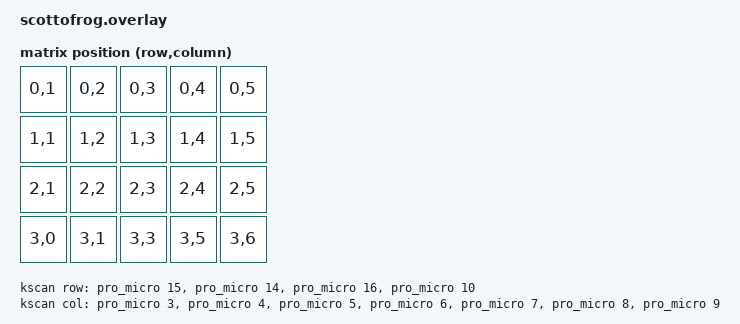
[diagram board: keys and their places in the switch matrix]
#include <dt-bindings/zmk/matrix_transform.h>


/* đặt bên ngoài khối root */
&i2c0 {
    compatible = "nordic,nrf-twim";
    status = "okay";
    pinctrl-0 = <&i2c0_default>;
    pinctrl-1 = <&i2c0_sleep>;         // ✅ BẮT BUỘC: cần đủ 2 pinctrl group
    pinctrl-names = "default", "sleep"; // ✅ BẮT BUỘC: đủ 2 chuỗi
    
    ssd1306: ssd1306@3c {
        compatible = "solomon,ssd1306fb";
        reg = <0x3c>;
        label = "SSD1306";
        width = <128>;
        height = <64>;
        segment-offset = <0>;         // Add this required property
        page-offset = <0>;            // This is likely also required
        display-offset = <0>;         // This might be required too
        multiplex-ratio = <63>;       // For 64-pixel height display (height-1)
        segment-remap;                // Typically needed
        com-invdir;                   // Typically needed
        com-sequential;               // Typically needed
        prechargep = <0x22>;          // Recommended default
        reset-gpios = <&gpio0 18 GPIO_ACTIVE_LOW>;
    };
};

&pinctrl {
    i2c0_default: i2c0_default {
        group1 {
            psels = <NRF_PSEL(TWIM_SCL, 0, 26)>,
                    <NRF_PSEL(TWIM_SDA, 0, 27)>;
        };
    };

    i2c0_sleep: i2c0_sleep {
        group1 {
            psels = <NRF_PSEL(TWIM_SCL, 0, 26)>,
                    <NRF_PSEL(TWIM_SDA, 0, 27)>;
        };
    };
};

/ {
    chosen {
        zmk,kscan = &kscan;
        zmk,matrix_transform = &transform;

        zephyr_display = &ssd1306;
    };

    kscan: kscan {
        compatible = "zmk,kscan-gpio-matrix";
        label = "KSCAN";
        diode-direction = "col2row";

        row-gpios = <&pro_micro 15 (GPIO_ACTIVE_HIGH | GPIO_PULL_DOWN)>,
                    <&pro_micro 14 (GPIO_ACTIVE_HIGH | GPIO_PULL_DOWN)>,
                    <&pro_micro 16 (GPIO_ACTIVE_HIGH | GPIO_PULL_DOWN)>,
                    <&pro_micro 10 (GPIO_ACTIVE_HIGH | GPIO_PULL_DOWN)>;

        col-gpios = <&pro_micro 3 (GPIO_ACTIVE_HIGH)>,
                    <&pro_micro 4 (GPIO_ACTIVE_HIGH)>,
                    <&pro_micro 5 (GPIO_ACTIVE_HIGH)>,
                    <&pro_micro 6 (GPIO_ACTIVE_HIGH)>,
                    <&pro_micro 7 (GPIO_ACTIVE_HIGH)>,
                    <&pro_micro 8 (GPIO_ACTIVE_HIGH)>,
                    <&pro_micro 9 (GPIO_ACTIVE_HIGH)>;
    };

    transform: matrix_transform {
        compatible = "zmk,matrix-transform";
        rows = <4>;
        columns = <7>;

        map = <
                     RC(0, 1) RC(0, 2) RC(0, 3) RC(0, 4) RC(0, 5)
                     RC(1, 1) RC(1, 2) RC(1, 3) RC(1, 4) RC(1, 5)
                     RC(2, 1) RC(2, 2) RC(2, 3) RC(2, 4) RC(2, 5)
            RC(3, 0) RC(3, 1)          RC(3, 3)          RC(3, 5) RC(3, 6)
        >;
    };
};
